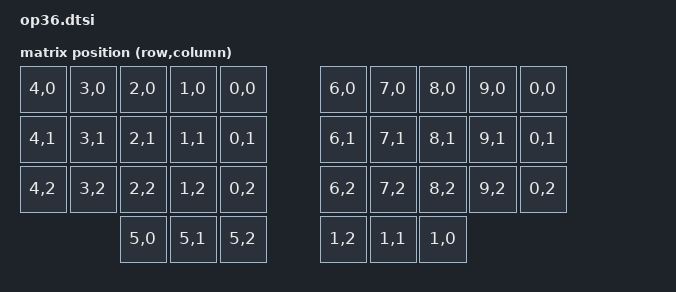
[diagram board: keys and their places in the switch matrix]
#include <dt-bindings/zmk/matrix_transform.h>
#include "op36_layout.dtsi"

/ {
    chosen {
      zmk,kscan = &kscan0;
      zmk,physical-layout = &physical_layout;
      zmk,battery = &vbatt;
    };

    default_transform: keymap_transform_0 {
      compatible = "zmk,matrix-transform";
      rows = <12>;
      columns = <3>;
	    map = <
RC(4, 0) RC(3, 0) RC(2, 0) RC(1, 0) RC(0, 0)    RC(6, 0) RC(7, 0) RC(8, 0) RC(9, 0) RC(0, 0)
RC(4, 1) RC(3, 1) RC(2, 1) RC(1, 1) RC(0, 1)    RC(6, 1) RC(7, 1) RC(8, 1) RC(9, 1) RC(0, 1)
RC(4, 2) RC(3, 2) RC(2, 2) RC(1, 2) RC(0, 2)    RC(6, 2) RC(7, 2) RC(8, 2) RC(9, 2) RC(0, 2)
                  RC(5, 0) RC(5, 1) RC(5, 2)    RC(1, 2) RC(1, 1) RC(1, 0)
      >;
    };

    kscan0: kscan {
      compatible = "zmk,kscan-gpio-matrix";
      diode-direction = "row2col";
      wakeup-source;
    };

    vbatt: vbatt {
        status = "okay";
        compatible = "zmk,battery-voltage-divider";
        io-channels = <&adc 7>;
        output-ohms = <1564000>;
        full-ohms = <(806000 + 1564000)>;
    };
};
